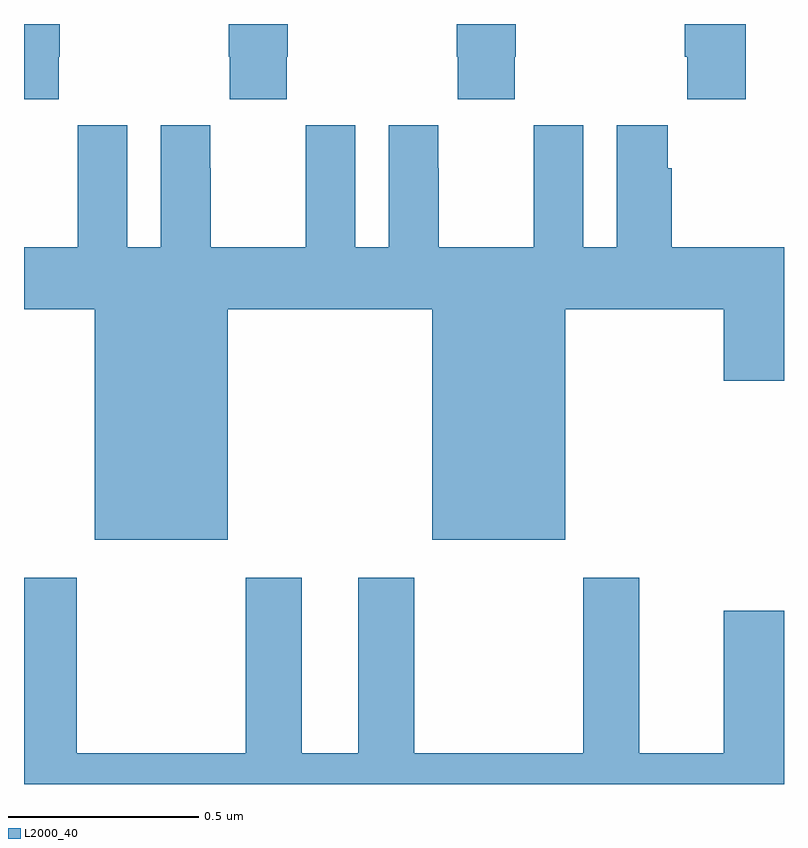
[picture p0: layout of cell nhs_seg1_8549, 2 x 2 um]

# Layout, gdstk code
import gdstk
lib = gdstk.Library(unit=1e-6, precision=1e-09)
def P(c, l, *ps):  # polygons
    for p in ps: c.add(gdstk.Polygon(p, *l))
L2000_40 = (2000, 40)

nhs_seg1_8549 = lib.new_cell('nhs_seg1_8549')
P(nhs_seg1_8549, L2000_40, [(218.091,503.113),(218.094,503.113),(218.094,503.199),(218,503.199),(218,503.001),(218.091,503.001)],
  [(218.691,503.113),(218.694,503.113),(218.694,503.199),(218.539,503.199),(218.539,503.113),(218.541,503.113),(218.541,503.001),(218.691,503.001)],
  [(219.291,503.113),(219.294,503.113),(219.294,503.199),(219.139,503.199),(219.139,503.113),(219.141,503.113),(219.141,503.001),(219.291,503.001)],
  [(219.899,503.199),(219.739,503.199),(219.739,503.113),(219.745,503.113),(219.745,503.001),(219.899,503.001)],
  [(218.536,502.448),(219.074,502.448),(219.074,501.842),(219.424,501.842),(219.424,502.448),(219.842,502.448),(219.842,502.26),(220,502.26),(220,502.612),(219.704,502.612),(219.704,502.82),(219.694,502.82),(219.694,502.933),(219.56,502.933),(219.56,502.612),(219.472,502.612),(219.472,502.933),(219.342,502.933),(219.342,502.82),(219.341,502.82),(219.341,502.612),(219.091,502.612),(219.091,502.82),(219.09,502.82),(219.09,502.933),(218.96,502.933),(218.96,502.612),(218.872,502.612),(218.872,502.933),(218.742,502.933),(218.742,502.82),(218.741,502.82),(218.741,502.612),(218.491,502.612),(218.491,502.82),(218.49,502.82),(218.49,502.933),(218.36,502.933),(218.36,502.612),(218.272,502.612),(218.272,502.933),(218.142,502.933),(218.142,502.82),(218.141,502.82),(218.141,502.612),(218,502.612),(218,502.448),(218.186,502.448),(218.186,501.842),(218.536,501.842)],
  [(220,501.655),(219.842,501.655),(219.842,501.28),(219.619,501.28),(219.619,501.742),(219.472,501.742),(219.472,501.28),(219.027,501.28),(219.027,501.742),(218.879,501.742),(218.879,501.28),(218.731,501.28),(218.731,501.742),(218.584,501.742),(218.584,501.28),(218.139,501.28),(218.139,501.742),(218,501.742),(218,501.199),(220,501.199)])

lib.write_gds('nhs_seg1_8549.gds')
